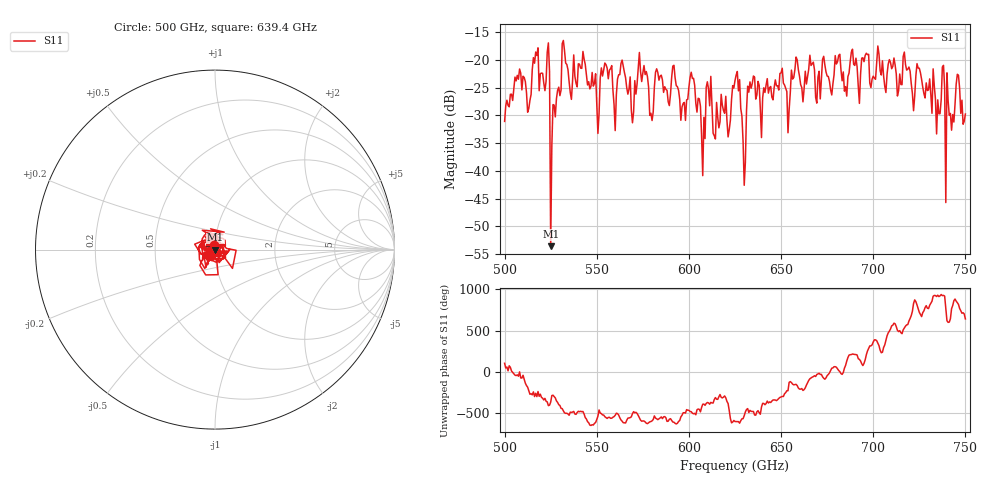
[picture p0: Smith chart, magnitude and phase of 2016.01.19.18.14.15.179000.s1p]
!Created with skrf (http://scikit-rf.org).
# GHz S RI R 50.0
!freq ReS11 ImS11
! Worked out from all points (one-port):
!   401 points, 500 GHz to 750 GHz, reference 50 ohm
!   lowest |S11| = -53.6 dB at 525 GHz (marker M1), VSWR 1.00, Z = 50.2 - j0.0181 ohm
!   |S11| at or under -10 dB: start of sweep to end of sweep
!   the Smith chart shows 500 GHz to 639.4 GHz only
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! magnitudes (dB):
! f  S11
! 500 GHz  -31.1
! 507.5 GHz  -23.5
! 513.1 GHz  -28.7
! 516.9 GHz  -18.5
! 523.1 GHz  -18.6
! 525 GHz  -53.6
! 526.2 GHz  -28.0
! 531.2 GHz  -17.0
! 550 GHz  -27.9
! 562.5 GHz  -22.6
! 570 GHz  -29.3
! 576.2 GHz  -22.6
! 579.4 GHz  -29.6
! 583.1 GHz  -22.2
! 593.8 GHz  -24.8
! 596.9 GHz  -27.8
! 601.9 GHz  -23.3
! 607.5 GHz  -40.9
! 610.6 GHz  -25.2
! 614.4 GHz  -34.2
! 621.9 GHz  -32.6
! 625 GHz  -23.7
! 630 GHz  -42.6
! 634.4 GHz  -24.2
! 656.2 GHz  -23.4
! 687.5 GHz  -20.3
! 718.8 GHz  -21.6
! 750 GHz  -29.7
